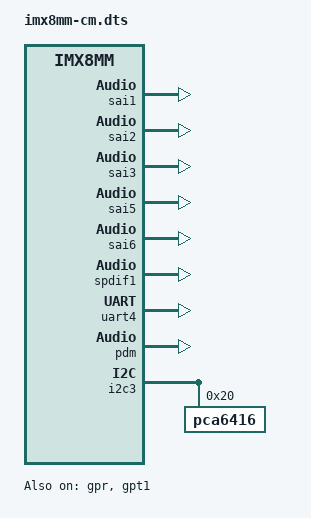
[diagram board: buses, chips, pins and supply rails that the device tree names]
/dts-v1/;

#include "imx8mm.dtsi"
#include <iomux.h>

#define GPIO_DESC_REQUESTED         1
#define GPIO_DESC_OUTPUT            2
#define GPIO_DESC_INPUT             4
#define GPIO_DESC_ACTIVE_LOW        8
#define GPIO_DESC_OUTPUT_ACTIVE     16

/ {
    compatible = "nxp,imx8mm,rev1";
    #address-cells = < 0x02 >;
    #size-cells = < 0x02 >;

    aliases {
        console = &uart4;
    };

    meminfo {
        phys_start = < 0x80000000 >;
        size = < 0x20000000 >;
    };

    ivshmem:ivshmem {
    };

    jailhouse:jailhouse {
        comm_region = < 0x60000000 0x1000 >;
        /* Following not used on ABI revision 2 */
        pci_region = < 0xbb800000 0x100000 >;
        irq = < 108 >;
    };

    rpmsg-wd {
        compatible = "imx_ivshm_binary";
        size = <0x200>; /* Endpoint buffer 512B */
        buffer_bytes = <0x200>; /* binary buffer 512B */
        id = <0x202>;
        status = "ok";
    };

    lktraces {
        compatible = "imx_ivshm_binary";
        size = <0x200>; /* Endpoint buffer 512B */
        buffer_bytes = <0x200>; /* binary buffer size 512B */
        id = <0x200>;
        status = "disabled";
    };
};

&gpr {
    status = "ok";

    init = < 2 0x0 6 0x0 7 0x0 8 0x0f0f0000 >;
};

&sdma2 {
    status = "ok";
    #include "sdma-fw.dtsi"
};

&sdma3 {
    status = "ok";
    #include "sdma-fw.dtsi"
};

&sai1 {
    status = "ok";

    pinctrl-names = "default";
    pinctrl-0 = <
        IOMUXC_SAI1_MCLK_SAI1_MCLK      0   0x8A
        IOMUXC_SAI1_TXC_SAI1_TX_BCLK    0   0x8A
        IOMUXC_SAI1_TXD0_SAI1_TX_DATA0  0   0x8A
        IOMUXC_SAI1_TXFS_SAI1_TX_SYNC   0   0x8A
        IOMUXC_SAI1_RXD7_SAI1_TX_SYNC   0   0x8A
        IOMUXC_SAI1_TXD1_SAI1_TX_DATA1  0   0x8A
        IOMUXC_SAI1_TXD2_SAI1_TX_DATA2  0   0x8A
        IOMUXC_SAI1_TXD3_SAI1_TX_DATA3  0   0x8A
        IOMUXC_SAI1_TXD4_SAI1_TX_DATA4  0   0x8A
        IOMUXC_SAI1_TXD5_SAI1_TX_DATA5  0   0x8A
        IOMUXC_SAI1_TXD6_SAI1_TX_DATA6  0   0x8A
        IOMUXC_SAI1_TXD7_SAI1_TX_DATA7  0   0x8A
        IOMUXC_SAI1_RXC_SAI1_RX_BCLK    0   0x8A
        IOMUXC_SAI1_RXD0_SAI1_RX_DATA0  0   0x8A
        IOMUXC_SAI1_RXD1_SAI1_RX_DATA1  0   0x8A
        IOMUXC_SAI1_RXD2_SAI1_RX_DATA2  0   0x8A
        IOMUXC_SAI1_RXD3_SAI1_RX_DATA3  0   0x8A
        IOMUXC_SAI1_RXD4_SAI1_RX_DATA4  0   0x8A
        IOMUXC_SAI1_RXD5_SAI1_RX_SYNC   0   0x8A
        IOMUXC_GPIO1_IO01_CCM_EXT_CLK2  0   0x8A
    >;
};

&sai2 {
    status = "ok";

    pinctrl-names = "default";
    pinctrl-0 = <
        IOMUXC_SAI2_MCLK_SAI2_MCLK      0   0x8A
        IOMUXC_SAI2_RXC_SAI2_RX_BCLK    0   0x8A
        IOMUXC_SAI2_RXD0_SAI2_RX_DATA0  0   0x8A
        IOMUXC_SAI2_RXFS_SAI2_RX_DATA1  0   0x8A
        IOMUXC_SAI2_RXFS_SAI2_RX_SYNC   0   0x8A
    >;
};

&sai3 {
    status = "ok";

    pinctrl-names = "default";
    pinctrl-0 = <
        IOMUXC_SAI3_MCLK_SAI3_MCLK      0   0x8A
        IOMUXC_SAI3_RXC_SAI3_RX_BCLK    0   0x8A
        IOMUXC_SAI3_RXD_SAI3_RX_DATA0   0   0x8A
        IOMUXC_SAI3_RXFS_SAI3_RX_DATA1  0   0x8A
        IOMUXC_SAI3_RXFS_SAI3_RX_SYNC   0   0x8A
    >;
};

&sai5 {
    status = "ok";

    pinctrl-names = "default";
    pinctrl-0 = <
        IOMUXC_SAI5_MCLK_SAI5_MCLK      0   0x8A
        IOMUXC_SAI5_RXC_SAI5_RX_BCLK    0   0x8A
        IOMUXC_SAI5_RXD0_SAI5_RX_DATA0  0   0x8A
        IOMUXC_SAI5_RXD1_SAI5_RX_DATA1  0   0x8A
        IOMUXC_SAI5_RXD2_SAI5_RX_DATA2  0   0x8A
        IOMUXC_SAI5_RXD3_SAI5_RX_DATA3  0   0x8A
        IOMUXC_SAI5_RXFS_SAI5_RX_SYNC   0   0x8A
    >;
};

&sai6 {
    is-dummy;
    status = "ok";
    rx,mclk-select = < 2 >;
    tx,mclk-select = < 2 >;
};

&spdif1 {
    status = "ok";
    dma-period-length = <2048>;
    dma-nr-period = <4>;

    pinctrl-names = "default";
    pinctrl-0 = <
        IOMUXC_SPDIF_RX_SPDIF1_IN           0   0x196
        IOMUXC_SPDIF_TX_SPDIF1_OUT          0   0
        IOMUXC_SPDIF_EXT_CLK_SPDIF1_EXT_CLK 0   0
    >;
};

&gpt1 {
    status = "ok";

    pinctrl-names = "default";
    pinctrl-0 = <
        IOMUXC_SAI3_RXFS_GPT1_CAPTURE1          0   0x100
    >;
};

&uart4 {
    status = "ok";

    pinctrl-names = "default";
    pinctrl-0 = <
        IOMUXC_UART4_TXD_UART4_TX 0 0x16
        IOMUXC_UART4_RXD_UART4_RX 0 0x16
    >;
};

&pdm {
    status = "ok";
    pinctrl-names = "default";
    pinctrl-0 = <
        IOMUXC_SAI5_RXC_PDM_CLK             0   0x8A
        IOMUXC_SAI5_RXFS_SAI5_RX_SYNC       0   0x8A
        IOMUXC_SAI5_RXD0_PDM_BIT_STREAM0    0   0x8A
        IOMUXC_SAI5_RXD1_PDM_BIT_STREAM1    0   0x8A
        IOMUXC_SAI5_RXD2_PDM_BIT_STREAM2    0   0x8A
        IOMUXC_SAI5_RXD3_PDM_BIT_STREAM3    0   0x8A
    >;
};

&i2c3 {
    status = "ok";
    pinctrl-names = "default";
    pinctrl-0 = <
        IOMUXC_I2C3_SCL_I2C3_SCL 1 0x86
        IOMUXC_I2C3_SDA_I2C3_SDA 1 0x86
    >;


    pca6416: pca6416@20 {
        compatible = "pca6416";
        gpio-controller;
        #gpio-cells = < 2 >;

        reg = < 0x20 >;
        reg-names = "core";

        interrupts = <96>;
        interrupt-names = "core";

        pinctrl-names = "default";
        pinctrl-0 = <
            IOMUXC_GPIO1_IO12_GPIO1_IO12 1 0x140
        >;

        status = "ok";
        /* TODO: Add GPIO definition */
    };

};
